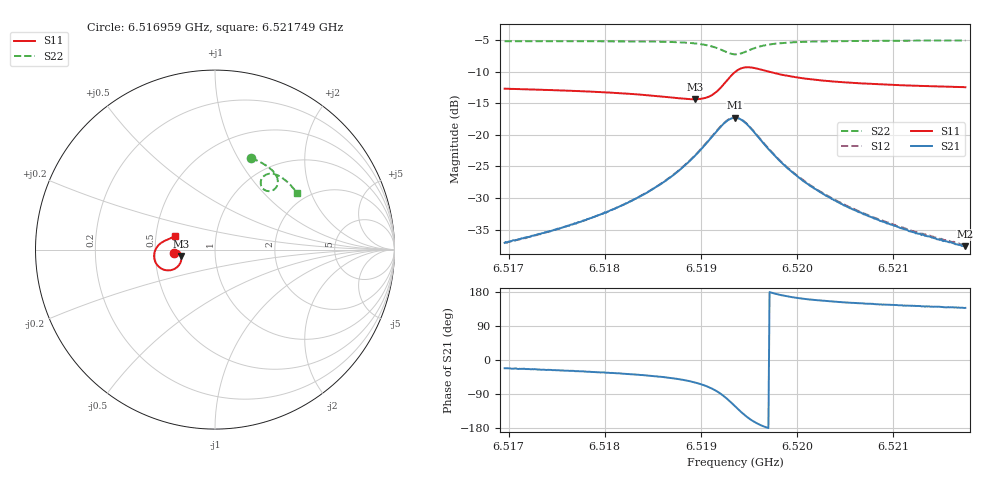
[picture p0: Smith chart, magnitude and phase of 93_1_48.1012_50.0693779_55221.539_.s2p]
#  HZ  S  RI  R  50.00
! Rohde & Schwarz Vector Network Analyzer
! Rohde-Schwarz,ZNB20-2Port,1311601062101988,3.16
! Created: UTC 12/23/2023, 3:43:59 AM
! freq[Hz]  re:S11  im:S11  re:S21  im:S21  re:S12  im:S12  re:S22  im:S22
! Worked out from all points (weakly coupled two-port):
!   401 points, 6.516959 GHz to 6.521749 GHz, reference 50 ohm
!   highest |S21| = -17.30 dB at 6.519354 GHz (marker M1); lowest = -37.6 dB at 6.521749 GHz (marker M2)
!   lowest |S11| = -14.4 dB at 6.518935 GHz (marker M3), VSWR 1.47, Z = 34.1 - j2.52 ohm
!   |S11| at or under -10 dB: start of sweep to 6.519361 GHz; 6.519702 GHz to end of sweep
!   |S22| runs from -7.3 to -5.1 dB; largest |S21 - S12| = 0.0041
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6.5169591e9  -0.2308 -0.018  0.013 -0.0052  0.0133 -0.00469  0.2007 0.5103
6.5174022e9  -0.226 -0.0115  0.0154 -0.00753  0.0156 -0.00696  0.2333 0.4965
6.5177615e9  -0.2208 -0.00734  0.018 -0.0104  0.0183 -0.00975  0.2598 0.4832
6.5181566e9  -0.2132 -0.00511  0.0222 -0.0158  0.0227 -0.0152  0.2896 0.4651
6.5183722e9  -0.2076 -0.00612  0.0253 -0.0209  0.0261 -0.02  0.306 0.4528
6.5185638e9  -0.2014 -0.00968  0.0289 -0.0276  0.0298 -0.0269  0.321 0.4392
6.5187554e9  -0.1942 -0.0181  0.0327 -0.0392  0.0341 -0.0382  0.3359 0.4212
6.518935e9  -0.1876 -0.0356  0.0348 -0.0584  0.0369 -0.0577  0.3478 0.3966
6.5190428e9  -0.1874 -0.055  0.0317 -0.0772  0.0344 -0.0767  0.3502 0.3756
6.5191267e9  -0.1943 -0.0765  0.0222 -0.0964  0.0253 -0.0965  0.3456 0.3554
6.5192584e9  -0.2366 -0.112  -0.0209 -0.1248  -0.0176 -0.1262  0.3129 0.3271
6.5193542e9  -0.2938 -0.1085  -0.0722 -0.1158  -0.0693 -0.1187  0.2736 0.3341
6.5194021e9  -0.3184 -0.09  -0.0921 -0.0969  -0.09 -0.1003  0.2597 0.3503
6.519462e9  -0.3359 -0.0588  -0.1042 -0.068  -0.1031 -0.0714  0.2545 0.374
6.5195578e9  -0.3365 -0.0137  -0.0996 -0.0292  -0.0997 -0.0322  0.2664 0.4041
6.5196655e9  -0.3208 0.0178  -0.0828 -0.00501  -0.0836 -0.00731  0.2892 0.4194
6.5198811e9  -0.2911 0.0432  -0.0552 0.0108  -0.056 0.0094  0.3271 0.4218
6.5201565e9  -0.2684 0.0541  -0.0362 0.0138  -0.037 0.013  0.3592 0.4093
6.5205038e9  -0.2521 0.0608  -0.0242 0.0129  -0.0248 0.0124  0.3881 0.3898
6.5209589e9  -0.2393 0.0676  -0.0163 0.0111  -0.0169 0.0108  0.4174 0.363
6.5212343e9  -0.2334 0.0714  -0.0132 0.0101  -0.0139 0.01  0.433 0.3465
6.5217493e9  -0.2244 0.0785  -0.00974 0.00891  -0.0102 0.00879  0.4586 0.3147
